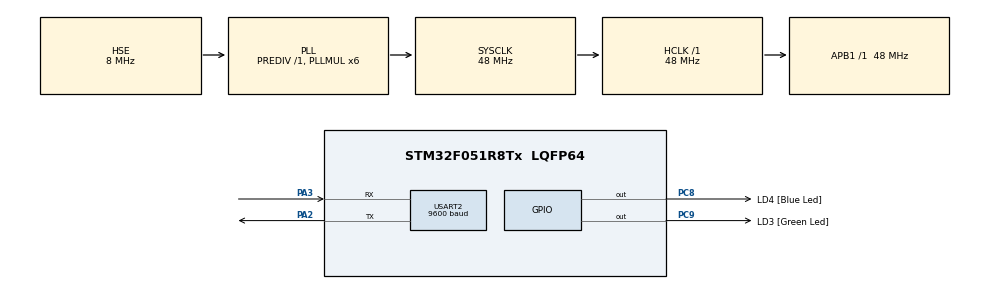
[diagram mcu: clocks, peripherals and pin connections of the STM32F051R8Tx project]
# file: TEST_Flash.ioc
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Mcu.Family=STM32F0
Mcu.Name=STM32F051R8Tx
Mcu.Package=LQFP64
NVIC.USART2_IRQn=true\:0\:0\:false\:false\:true\:true\:true\:true
PA13.GPIO_Label=SWDIO
PA13.Mode=Serial_Wire
PA13.Signal=SYS_SWDIO
PA14.GPIO_Label=SWCLK
PA14.Mode=Serial_Wire
PA14.Signal=SYS_SWCLK
PA2.Mode=Asynchronous
PA2.Signal=USART2_TX
PA3.Mode=Asynchronous
PA3.Signal=USART2_RX
PC8.GPIO_Label=LD4 [Blue Led]
PC8.Signal=GPIO_Output
PC9.GPIO_Label=LD3 [Green Led]
PC9.Signal=GPIO_Output
PF0-OSC_IN.Mode=HSE-External-Oscillator
PF0-OSC_IN.Signal=RCC_OSC_IN
PF1-OSC_OUT.Mode=HSE-External-Oscillator
PF1-OSC_OUT.Signal=RCC_OSC_OUT
ProjectManager.HeapSize=0x200
ProjectManager.StackSize=0x400
ProjectManager.TargetToolchain=MDK-ARM V5
RCC.AHBFreq_Value=48000000
RCC.APB1Freq_Value=48000000
RCC.APB1TimFreq_Value=48000000
RCC.HCLKFreq_Value=48000000
RCC.PLLMUL=RCC_PLL_MUL6
RCC.PLLSourceVirtual=RCC_PLLSOURCE_HSE
RCC.SYSCLKFreq_VALUE=48000000
RCC.SYSCLKSource=RCC_SYSCLKSOURCE_PLLCLK
USART2.BaudRate=9600
USART2.VirtualMode-Asynchronous=VM_ASYNC
board=STM32F0DISCOVERY

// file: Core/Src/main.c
/* USER CODE BEGIN Header */
/**
  ******************************************************************************
  * @file           : main.c
  * @brief          : Main program body
  ******************************************************************************
  * @attention
  *
  * Copyright (c) 2023 STMicroelectronics.
  * All rights reserved.
  *
  * This software is licensed under terms that can be found in the LICENSE file
  * in the root directory of this software component.
  * If no LICENSE file comes with this software, it is provided AS-IS.
  *
  ******************************************************************************
  */
/* USER CODE END Header */
#include "main.h"

/* USER CODE BEGIN Includes */

#include "FLASH_PAGE_F1.h"
#include "string.h"

/* USER CODE END Includes */

UART_HandleTypeDef huart2;

void SystemClock_Config(void);
static void MX_GPIO_Init(void);
static void MX_USART2_UART_Init(void);

/* USER CODE BEGIN 0 */

char *data = "test Flash, Hello";

uint32_t data2[] = {0x1,0x2,0x3,0x4,0x5,0x6,0x7,0x8,0x9};

uint32_t Rx_Data[30];

char string[100];

int number = 123;

float val = 123.456;

float RxVal;

uint32_t *p = (uint32_t *)0x08004410;

/* USER CODE END 0 */

int main(void)
{

  /* MCU Configuration--------------------------------------------------------*/

  /* Reset of all peripherals, Initializes the Flash interface and the Systick. */
  HAL_Init();

  /* Configure the system clock */
  SystemClock_Config();

  /* Initialize all configured peripherals */
  MX_GPIO_Init();
  MX_USART2_UART_Init();
  /* USER CODE BEGIN 2 */

	Flash_Write_Data(0x08004410  , (uint32_t *)data2, 9);
  Flash_Read_Data(0x08004410  , Rx_Data, 10);

	/*HAL_UART_Transmit(&huart2, p, sizeof(p), 100);
  HAL_Delay(100);*/

  /*int numofwords = (strlen(data)/4)+((strlen(data)%4)!=0);
  Flash_Write_Data(0x08004810  , (uint32_t *)data, numofwords);
  Flash_Read_Data(0x08004810  , Rx_Data, numofwords);
  Convert_To_Str(Rx_Data, string);*/

  Flash_Write_NUM(0x0800FC00, number);
  RxVal = Flash_Read_NUM(0x0800FC00);

  Flash_Write_NUM(0x0800FC4E, val);
  RxVal = Flash_Read_NUM(0x0800FC4E);

  /* USER CODE END 2 */

  /* Infinite loop */
  while (1)
  {

  }
}

void SystemClock_Config(void)
{
  RCC_OscInitTypeDef RCC_OscInitStruct = {0};
  RCC_ClkInitTypeDef RCC_ClkInitStruct = {0};

  /** Initializes the RCC Oscillators according to the specified parameters
  * in the RCC_OscInitTypeDef structure.
  */
  RCC_OscInitStruct.OscillatorType = RCC_OSCILLATORTYPE_HSE;
  RCC_OscInitStruct.HSEState = RCC_HSE_ON;
  RCC_OscInitStruct.PLL.PLLState = RCC_PLL_ON;
  RCC_OscInitStruct.PLL.PLLSource = RCC_PLLSOURCE_HSE;
  RCC_OscInitStruct.PLL.PLLMUL = RCC_PLL_MUL6;
  RCC_OscInitStruct.PLL.PREDIV = RCC_PREDIV_DIV1;
  if (HAL_RCC_OscConfig(&RCC_OscInitStruct) != HAL_OK)
  {
    Error_Handler();
  }

  /** Initializes the CPU, AHB and APB buses clocks
  */
  RCC_ClkInitStruct.ClockType = RCC_CLOCKTYPE_HCLK|RCC_CLOCKTYPE_SYSCLK
                              |RCC_CLOCKTYPE_PCLK1;
  RCC_ClkInitStruct.SYSCLKSource = RCC_SYSCLKSOURCE_PLLCLK;
  RCC_ClkInitStruct.AHBCLKDivider = RCC_SYSCLK_DIV1;
  RCC_ClkInitStruct.APB1CLKDivider = RCC_HCLK_DIV1;

  if (HAL_RCC_ClockConfig(&RCC_ClkInitStruct, FLASH_LATENCY_1) != HAL_OK)
  {
    Error_Handler();
  }
}

static void MX_USART2_UART_Init(void)
{

  huart2.Instance = USART2;
  huart2.Init.BaudRate = 9600;
  huart2.Init.WordLength = UART_WORDLENGTH_8B;
  huart2.Init.StopBits = UART_STOPBITS_1;
  huart2.Init.Parity = UART_PARITY_NONE;
  huart2.Init.Mode = UART_MODE_TX_RX;
  huart2.Init.HwFlowCtl = UART_HWCONTROL_NONE;
  huart2.Init.OverSampling = UART_OVERSAMPLING_16;
  huart2.Init.OneBitSampling = UART_ONE_BIT_SAMPLE_DISABLE;
  huart2.AdvancedInit.AdvFeatureInit = UART_ADVFEATURE_NO_INIT;
  if (HAL_UART_Init(&huart2) != HAL_OK)
  {
    Error_Handler();
  }

}

static void MX_GPIO_Init(void)
{
  GPIO_InitTypeDef GPIO_InitStruct = {0};

  /* GPIO Ports Clock Enable */
  __HAL_RCC_GPIOF_CLK_ENABLE();
  __HAL_RCC_GPIOA_CLK_ENABLE();
  __HAL_RCC_GPIOC_CLK_ENABLE();

  /*Configure GPIO pin Output Level */
  HAL_GPIO_WritePin(GPIOC, LD4_Pin|LD3_Pin, GPIO_PIN_RESET);

  /*Configure GPIO pins : LD4_Pin LD3_Pin */
  GPIO_InitStruct.Pin = LD4_Pin|LD3_Pin;
  GPIO_InitStruct.Mode = GPIO_MODE_OUTPUT_PP;
  GPIO_InitStruct.Pull = GPIO_NOPULL;
  GPIO_InitStruct.Speed = GPIO_SPEED_FREQ_LOW;
  HAL_GPIO_Init(GPIOC, &GPIO_InitStruct);

}

void Error_Handler(void)
{
  __disable_irq();
  while (1)
  {
  }
}
